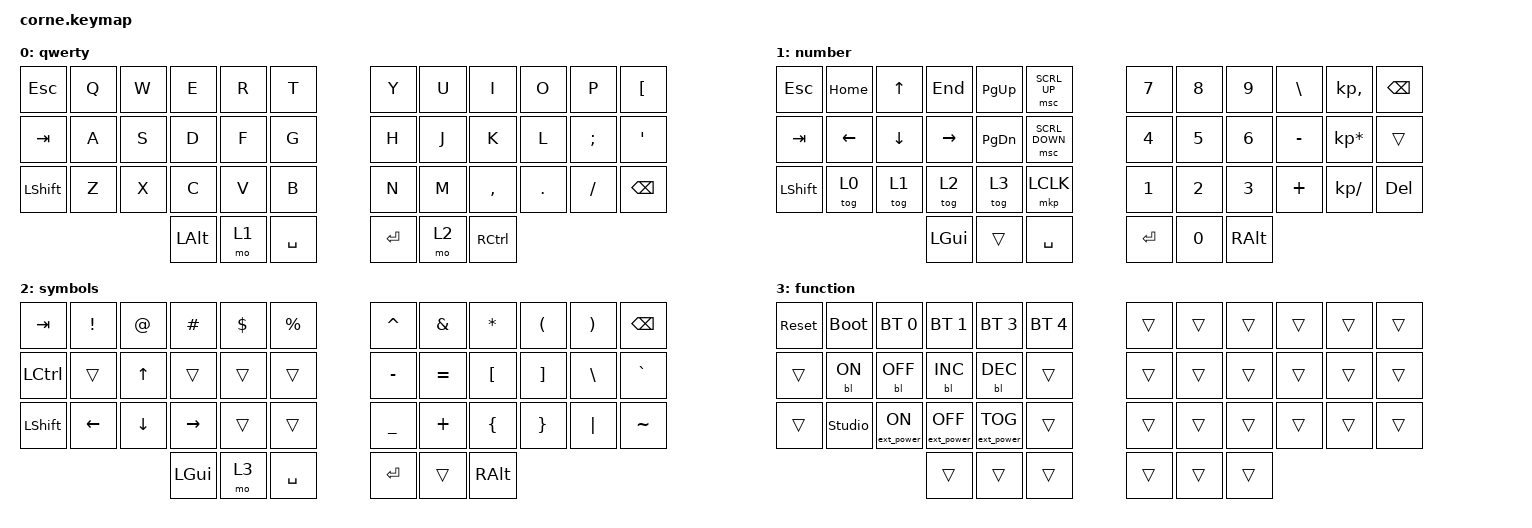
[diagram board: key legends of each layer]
/*
 * Copyright (c) 2020 The ZMK Contributors
 *
 * SPDX-License-Identifier: MIT
 */

#include <behaviors.dtsi>
#include <dt-bindings/zmk/backlight.h>
#include <dt-bindings/zmk/bt.h>
#include <dt-bindings/zmk/ext_power.h>
#include <dt-bindings/zmk/keys.h>
#include <dt-bindings/zmk/pointing.h>

&led_strip {
    chain-length = <0>;

    // chain-length = <27>;
    // 21 backlight + 6 glowlight
};

/ {
    keymap {
        compatible = "zmk,keymap";

        Qwerty {
            display-name = "qwerty";

            // -----------------------------------------------------------------------------------------
            // |  TAB |  Q  |  W  |  E  |  R  |  T  |   |  Y  |  U   |  I  |  O  |  P  | BSPC |
            // | CTRL |  A  |  S  |  D  |  F  |  G  |   |  H  |  J   |  K  |  L  |  ;  |  '   |
            // | SHFT |  Z  |  X  |  C  |  V  |  B  |   |  N  |  M   |  ,  |  .  |  /  | ESC  |
            //                    | GUI | LWR | SPC |   | ENT | RSE  | ALT |

            bindings = <
&kp ESCAPE  &kp Q  &kp W  &kp E         &kp R  &kp T        &kp Y    &kp U  &kp I      &kp O    &kp P      &kp LEFT_BRACKET
&kp TAB     &kp A  &kp S  &kp D         &kp F  &kp G        &kp H    &kp J  &kp K      &kp L    &kp SEMI   &kp SQT
&kp LSHFT   &kp Z  &kp X  &kp C         &kp V  &kp B        &kp N    &kp M  &kp COMMA  &kp DOT  &kp SLASH  &kp BACKSPACE
                          &kp LEFT_ALT  &mo 1  &kp SPACE    &kp RET  &mo 2  &kp RCTRL
            >;
        };

        number {
            display-name = "number";

            // -----------------------------------------------------------------------------------------
            // |  TAB |  1  |  2  |  3  |  4  |  5  |   |  6  |  7  |  8  |  9  |  0  | BSPC |
            // | BTCLR| BT1 | BT2 | BT3 | BT4 | BT5 |   | LFT | DWN |  UP | RGT |     |      |
            // | SHFT |     |     |     |     |     |   |     |     |     |     |     |      |
            //                    | GUI |     | SPC |   | ENT |     | ALT |

            bindings = <
&kp ESC    &kp HOME        &kp UP_ARROW    &kp END          &kp PAGE_UP    &msc SCRL_UP      &kp NUMBER_7  &kp NUMBER_8  &kp NUMBER_9  &kp BACKSLASH  &kp KP_COMMA     &kp BSPC
&kp TAB    &kp LEFT_ARROW  &kp DOWN_ARROW  &kp RIGHT_ARROW  &kp PAGE_DOWN  &msc SCRL_DOWN    &kp NUMBER_4  &kp NUMBER_5  &kp NUMBER_6  &kp MINUS      &kp KP_MULTIPLY  &trans
&kp LSHFT  &tog 0          &tog 1          &tog 2           &tog 3         &mkp LCLK         &kp NUMBER_1  &kp NUMBER_2  &kp NUMBER_3  &kp PLUS       &kp KP_DIVIDE    &kp DELETE
                                           &kp LGUI         &trans         &kp SPACE         &kp RET       &kp NUMBER_0  &kp RALT
            >;
        };

        symbols {
            display-name = "symbols";

            // -----------------------------------------------------------------------------------------
            // |  TAB |  !  |  @  |  #  |  $  |  %  |   |  ^  |  &  |  *  |  (  |  )  | BSPC |
            // | CTRL |     |     |     |     |     |   |  -  |  =  |  [  |  ]  |  \  |  `   |
            // | SHFT |     |     |     |     |     |   |  _  |  +  |  {  |  }  | "|" |  ~   |
            //                    | GUI |     | SPC |   | ENT |     | ALT |

            bindings = <
&kp TAB    &kp EXCL        &kp AT          &kp HASH         &kp DLLR  &kp PRCNT    &kp CARET  &kp AMPS   &kp ASTRK  &kp LPAR  &kp RPAR  &kp BSPC
&kp LCTRL  &trans          &kp UP_ARROW    &trans           &trans    &trans       &kp MINUS  &kp EQUAL  &kp LBKT   &kp RBKT  &kp BSLH  &kp GRAVE
&kp LSHFT  &kp LEFT_ARROW  &kp DOWN_ARROW  &kp RIGHT_ARROW  &trans    &trans       &kp UNDER  &kp PLUS   &kp LBRC   &kp RBRC  &kp PIPE  &kp TILDE
                                           &kp LGUI         &mo 3     &kp SPACE    &kp RET    &trans     &kp RALT
            >;
        };

        Function {
            display-name = "function";
            bindings = <
&sys_reset  &bootloader     &bt BT_SEL 0      &bt BT_SEL 1       &bt BT_SEL 3       &bt BT_SEL 4    &trans  &trans  &trans  &trans  &trans  &trans
&trans      &bl BL_ON       &bl BL_OFF        &bl BL_INC         &bl BL_DEC         &trans          &trans  &trans  &trans  &trans  &trans  &trans
&trans      &studio_unlock  &ext_power EP_ON  &ext_power EP_OFF  &ext_power EP_TOG  &trans          &trans  &trans  &trans  &trans  &trans  &trans
                                              &trans             &trans             &trans          &trans  &trans  &trans
            >;
        };
    };
};
